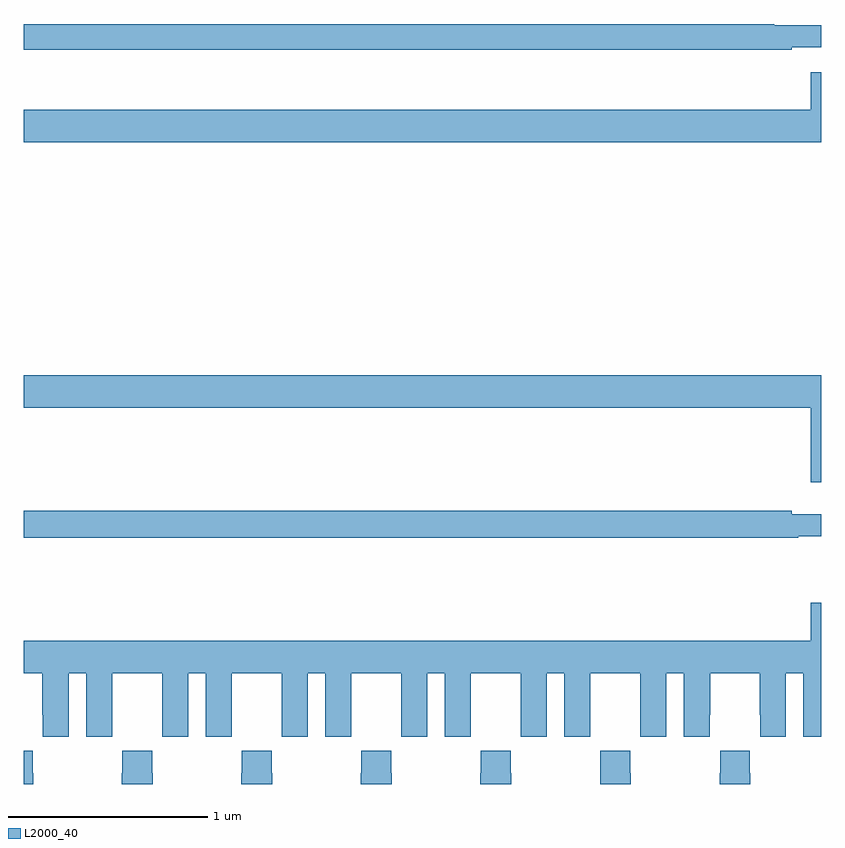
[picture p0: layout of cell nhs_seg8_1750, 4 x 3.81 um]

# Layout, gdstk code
import gdstk
lib = gdstk.Library(unit=1e-6, precision=1e-09)
def P(c, l, *ps):  # polygons
    for p in ps: c.add(gdstk.Polygon(p, *l))
L2000_40 = (2000, 40)

nhs_seg8_1750 = lib.new_cell('nhs_seg8_1750')
P(nhs_seg8_1750, L2000_40, [(224.852,1163.598),(225,1163.598),(225,1163.707),(224.765,1163.707),(224.765,1163.714),(221,1163.714),(221,1163.586),(224.852,1163.586)],
  [(225,1163.473),(224.948,1163.473),(224.948,1163.284),(221,1163.284),(221,1163.12),(225,1163.12)],
  [(225,1161.952),(221,1161.952),(221,1161.788),(224.948,1161.788),(224.948,1161.414),(225,1161.414)],
  [(224.885,1161.144),(225,1161.144),(225,1161.253),(224.852,1161.253),(224.852,1161.272),(221,1161.272),(221,1161.136),(224.885,1161.136)],
  [(221.224,1160.456),(221.312,1160.456),(221.312,1160.136),(221.442,1160.136),(221.442,1160.248),(221.443,1160.248),(221.443,1160.456),(221.693,1160.456),(221.693,1160.248),(221.694,1160.248),(221.694,1160.136),(221.824,1160.136),(221.824,1160.456),(221.912,1160.456),(221.912,1160.136),(222.042,1160.136),(222.042,1160.248),(222.043,1160.248),(222.043,1160.456),(222.293,1160.456),(222.293,1160.248),(222.294,1160.248),(222.294,1160.136),(222.424,1160.136),(222.424,1160.456),(222.512,1160.456),(222.512,1160.136),(222.642,1160.136),(222.642,1160.248),(222.643,1160.248),(222.643,1160.456),(222.893,1160.456),(222.893,1160.248),(222.894,1160.248),(222.894,1160.136),(223.024,1160.136),(223.024,1160.456),(223.112,1160.456),(223.112,1160.136),(223.242,1160.136),(223.242,1160.248),(223.243,1160.248),(223.243,1160.456),(223.493,1160.456),(223.493,1160.248),(223.494,1160.248),(223.494,1160.136),(223.624,1160.136),(223.624,1160.456),(223.712,1160.456),(223.712,1160.136),(223.842,1160.136),(223.842,1160.248),(223.843,1160.248),(223.843,1160.456),(224.093,1160.456),(224.093,1160.248),(224.094,1160.248),(224.094,1160.136),(224.224,1160.136),(224.224,1160.456),(224.312,1160.456),(224.312,1160.136),(224.442,1160.136),(224.442,1160.248),(224.443,1160.248),(224.443,1160.456),(224.693,1160.456),(224.693,1160.248),(224.694,1160.248),(224.694,1160.136),(224.824,1160.136),(224.824,1160.456),(224.912,1160.456),(224.912,1160.136),(225,1160.136),(225,1160.809),(224.948,1160.809),(224.948,1160.62),(221,1160.62),(221,1160.456),(221.093,1160.456),(221.093,1160.248),(221.094,1160.248),(221.094,1160.136),(221.224,1160.136)],
  [(224.646,1159.955),(224.643,1159.955),(224.643,1160.068),(224.493,1160.068),(224.493,1159.955),(224.491,1159.955),(224.491,1159.9),(224.646,1159.9)],
  [(224.046,1159.955),(224.043,1159.955),(224.043,1160.068),(223.893,1160.068),(223.893,1159.955),(223.891,1159.955),(223.891,1159.9),(224.046,1159.9)],
  [(221.046,1159.955),(221.043,1159.955),(221.043,1160.068),(221,1160.068),(221,1159.9),(221.046,1159.9)],
  [(221.646,1159.955),(221.643,1159.955),(221.643,1160.068),(221.493,1160.068),(221.493,1159.955),(221.491,1159.955),(221.491,1159.9),(221.646,1159.9)],
  [(222.246,1159.955),(222.243,1159.955),(222.243,1160.068),(222.093,1160.068),(222.093,1159.955),(222.091,1159.955),(222.091,1159.9),(222.246,1159.9)],
  [(222.846,1159.955),(222.843,1159.955),(222.843,1160.068),(222.693,1160.068),(222.693,1159.955),(222.691,1159.955),(222.691,1159.9),(222.846,1159.9)],
  [(223.446,1159.955),(223.443,1159.955),(223.443,1160.068),(223.293,1160.068),(223.293,1159.955),(223.291,1159.955),(223.291,1159.9),(223.446,1159.9)])

lib.write_gds('nhs_seg8_1750.gds')
